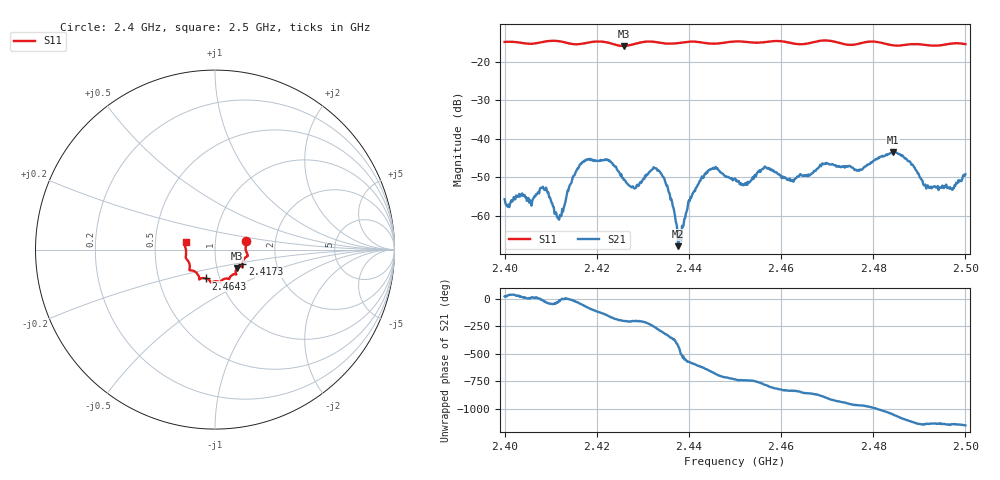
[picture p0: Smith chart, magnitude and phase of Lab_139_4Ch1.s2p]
# Hz S RI R 50
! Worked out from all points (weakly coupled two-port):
!   601 points, 2.4 GHz to 2.5 GHz, reference 50 ohm
!   highest |S21| = -43.41 dB at 2.4843 GHz (marker M1); lowest = -67.8 dB at 2.4377 GHz (marker M2)
!   lowest |S11| = -15.9 dB at 2.4258 GHz (marker M3), VSWR 1.38, Z = 62.3 - j13.3 ohm
!   |S11| at or under -10 dB: start of sweep to end of sweep
!   S12 and S22 are empty: the file has one direction only
!   S11 on the Smith chart (normalised r, x): 2.4 GHz: 1.41, +0.14; 2.4173 GHz: 1.34, -0.23; 2.4643 GHz: 0.86, -0.29; 2.5 GHz: 0.72, +0.06
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2.4e9  0.1735 0.0496  0.00153 0.000615  0 0  0 0
2.4085e9  0.18 -0.0251  0.00205 -0.000825  0 0  0 0
2.411833e9  0.1806 -0.0361  0.000874 -0.000187  0 0  0 0
2.416667e9  0.153 -0.0743  0.00307 -0.00362  0 0  0 0
2.417333e9  0.1525 -0.0818  0.00223 -0.00472  0 0  0 0
2.4225e9  0.149 -0.0942  -0.00477 -0.00218  0 0  0 0
2.425833e9  0.1217 -0.1037  -0.00278 0.00102  0 0  0 0
2.428e9  0.1148 -0.1235  -0.00217 0.000819  0 0  0 0
2.433333e9  0.1129 -0.1368  0.000581 0.0039  0 0  0 0
2.435833e9  0.0959 -0.1418  0.00188 0.000494  0 0  0 0
2.437667e9  0.0842 -0.1526  0.000145 -0.000379  0 0  0 0
2.440333e9  0.0789 -0.1639  -0.00139 0.00107  0 0  0 0
2.444e9  0.0636 -0.1609  0.000812 0.00355  0 0  0 0
2.45e9  0.0292 -0.1809  0.00302 -0.000533  0 0  0 0
2.456833e9  -0.0123 -0.18  0.00184 -0.00381  0 0  0 0
2.464333e9  -0.0497 -0.1608  -0.00205 -0.00275  0 0  0 0
2.466667e9  -0.0757 -0.1599  -0.00278 -0.00222  0 0  0 0
2.483333e9  -0.1404 -0.0899  0.0044 0.00456  0 0  0 0
2.484333e9  -0.1422 -0.0793  0.00588 0.00333  0 0  0 0
2.492e9  -0.161 -0.0254  0.0013 -0.00196  0 0  0 0
2.497e9  -0.1699 0.0264  0.00124 -0.00188  0 0  0 0
2.5e9  -0.1635 0.0421  0.00124 -0.00324  0 0  0 0
